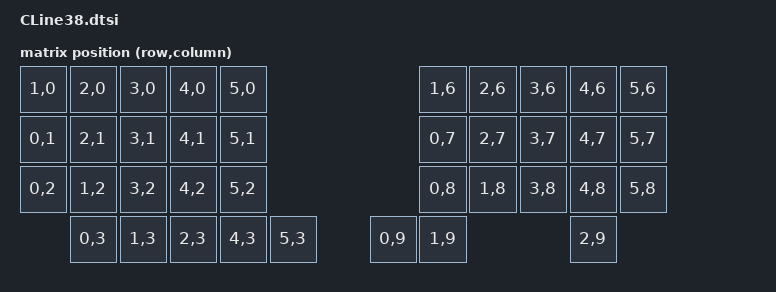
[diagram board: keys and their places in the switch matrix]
#include <dt-bindings/zmk/matrix_transform.h>
#include <physical_layouts.dtsi>

/ {
    chosen {
        zmk,physical-layout = &cline38_physical_layout;
        zmk,battery = &non_lipo_battery;
    };

    cline38_physical_layout: cline38_physical_layout {
        compatible = "zmk,physical-layout";
        display-name = "Default";
        transform = <&default_transform>;
        kscan = <&kscan0>;

        keys  //                     w   h     x    y   rot   rx   ry
            = <&key_physical_attrs 100 100     0    0     0    0    0> //  0: L-SW1
            , <&key_physical_attrs 100 100   100    0     0    0    0> //  1: L-SW2
            , <&key_physical_attrs 100 100   200    0     0    0    0> //  2: L-SW3
            , <&key_physical_attrs 100 100   300    0     0    0    0> //  3: L-SW4
            , <&key_physical_attrs 100 100   400    0     0    0    0> //  4: L-SW5

            , <&key_physical_attrs 100 100   800    0     0    0    0> //  5: R-SW1
            , <&key_physical_attrs 100 100   900    0     0    0    0> //  6: R-SW2
            , <&key_physical_attrs 100 100  1000    0     0    0    0> //  7: R-SW3
            , <&key_physical_attrs 100 100  1100    0     0    0    0> //  8: R-SW4
            , <&key_physical_attrs 100 100  1200    0     0    0    0> //  9: R-SW5

            , <&key_physical_attrs 100 100     0  100     0    0    0> // 10: L-SW6
            , <&key_physical_attrs 100 100   100  100     0    0    0> // 11: L-SW7
            , <&key_physical_attrs 100 100   200  100     0    0    0> // 12: L-SW8
            , <&key_physical_attrs 100 100   300  100     0    0    0> // 13: L-SW9
            , <&key_physical_attrs 100 100   400  100     0    0    0> // 14: L-SW10

            , <&key_physical_attrs 100 100   800  100     0    0    0> // 15: R-SW6
            , <&key_physical_attrs 100 100   900  100     0    0    0> // 16: R-SW7
            , <&key_physical_attrs 100 100  1000  100     0    0    0> // 17: R-SW8
            , <&key_physical_attrs 100 100  1100  100     0    0    0> // 18: R-SW9
            , <&key_physical_attrs 100 100  1200  100     0    0    0> // 19: R-SW10

            , <&key_physical_attrs 100 100     0  200     0    0    0> // 20: L-SW11
            , <&key_physical_attrs 100 100   100  200     0    0    0> // 21: L-SW12
            , <&key_physical_attrs 100 100   200  200     0    0    0> // 22: L-SW13
            , <&key_physical_attrs 100 100   300  200     0    0    0> // 23: L-SW14
            , <&key_physical_attrs 100 100   400  200     0    0    0> // 24: L-SW15

            , <&key_physical_attrs 100 100   800  200     0    0    0> // 25: R-SW11
            , <&key_physical_attrs 100 100   900  200     0    0    0> // 26: R-SW12
            , <&key_physical_attrs 100 100  1000  200     0    0    0> // 27: R-SW13
            , <&key_physical_attrs 100 100  1100  200     0    0    0> // 28: R-SW14
            , <&key_physical_attrs 100 100  1200  200     0    0    0> // 29: R-SW15

            , <&key_physical_attrs 100 100   100  300     0    0    0> // 30: L-SW16
            , <&key_physical_attrs 100 100   200  300     0    0    0> // 31: L-SW17
            , <&key_physical_attrs 100 100   300  300     0    0    0> // 32: L-SW18
            , <&key_physical_attrs 100 100   400  300     0    0    0> // 33: L-SW19
            , <&key_physical_attrs 100 100   500  300     0    0    0> // 34: L-SW20

            , <&key_physical_attrs 100 100   700  300     0    0    0> // 35: R-SW16
            , <&key_physical_attrs 100 100   800  300     0    0    0> // 36: R-SW17
            , <&key_physical_attrs 100 100  1100  300     0    0    0> // 37: R-SW18
            ;
    };

    default_transform: keymap_transform_0 {
        compatible = "zmk,matrix-transform";
        //columns = <11>;
        //rows = <6>;
        columns = <12>;
        rows = <4>;
        map = <
            RC(1,0) RC(2,0) RC(3,0) RC(4,0) RC(5,0)                  RC(1,6) RC(2,6) RC(3,6) RC(4,6) RC(5,6)
            RC(0,1) RC(2,1) RC(3,1) RC(4,1) RC(5,1)                  RC(0,7) RC(2,7) RC(3,7) RC(4,7) RC(5,7)
            RC(0,2) RC(1,2) RC(3,2) RC(4,2) RC(5,2)                  RC(0,8) RC(1,8) RC(3,8) RC(4,8) RC(5,8)
                    RC(0,3) RC(1,3) RC(2,3) RC(4,3) RC(5,3)  RC(0,9) RC(1,9)                 RC(2,9)
        >;
    };

    kscan0: kscan {
        compatible = "zmk,kscan-gpio-charlieplex";
        gpios
        = <&xiao_d 2 (GPIO_ACTIVE_HIGH)>
        , <&xiao_d 3 (GPIO_ACTIVE_HIGH)>
        , <&xiao_d 4 (GPIO_ACTIVE_HIGH)>
        , <&xiao_d 5 (GPIO_ACTIVE_HIGH)>
        , <&xiao_d 6 (GPIO_ACTIVE_HIGH)>
        , <&xiao_d 7 (GPIO_ACTIVE_HIGH)>
        ;
        wakeup-source;
        interrupt-gpios = <&xiao_d 1 (GPIO_ACTIVE_HIGH | GPIO_PULL_DOWN)>;
    };

    trackball_listener: trackball_listener {
        compatible = "zmk,input-listener";
        status = "disabled";
    };

    vbatt: vbatt {
        // Disable default battery monitoring
        status = "disabled";
    };
    non_lipo_battery: non_lipo_battery {
        compatible = "zmk,non-lipo-battery";
        io-channels = <&adc 0>;  // Replace with your ADC channel number
        
        // Optional: Power control GPIO for the voltage divider
        //power-gpios = <&gpio0 3 GPIO_ACTIVE_HIGH>;  // Replace with your GPIO
    };
};

&adc {
    status = "okay";
};

&spi0 {
    status = "disabled";

    trackball: trackball@0 {
        status = "disabled";
        reg = <0>;
    };
};

&uicr {
    nfct-pins-as-gpios;
};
